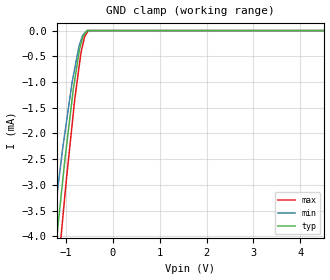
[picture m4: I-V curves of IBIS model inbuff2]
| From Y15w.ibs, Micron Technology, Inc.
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|   inbuff2 MODEL
[Model]   inbuff2
Model_type   Input
| Used for WE. Contains no Power Clamp.
Vinl = 800.000mV
Vinh = 2.000V
|   typ   min   max
C_comp   2.140pF   2.040pF   2.240pF
[Voltage Range]   3.300V   3.000V   3.600V
[Temperature Range]   25.0   85.0   0.0
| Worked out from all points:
|   GND clamp passes 1 mA (typ) near -0.82 V on its own axis
[GND Clamp]
|   Voltage   I(typ)   I(min)   I(max)
-3.3V     -632.5mA   -661.1mA   -623.5mA
-1.31V    -5.025mA   NA         NA
-1.02V    -2.497mA   NA         NA
-840mV    -1.123mA   NA         NA
-710mV    -365.6uA   NA         NA
-640mV    -120.1uA   -88.74uA   NA
-550mV    0A         0A         NA
6.6V      0A         0A         0A
[POWER Clamp]
|   Voltage   I(typ)   I(min)   I(max)
-3.3V     0A         0A         0A
-3.29V    0A         0A         0A
6.6V      0A         0A         0A
